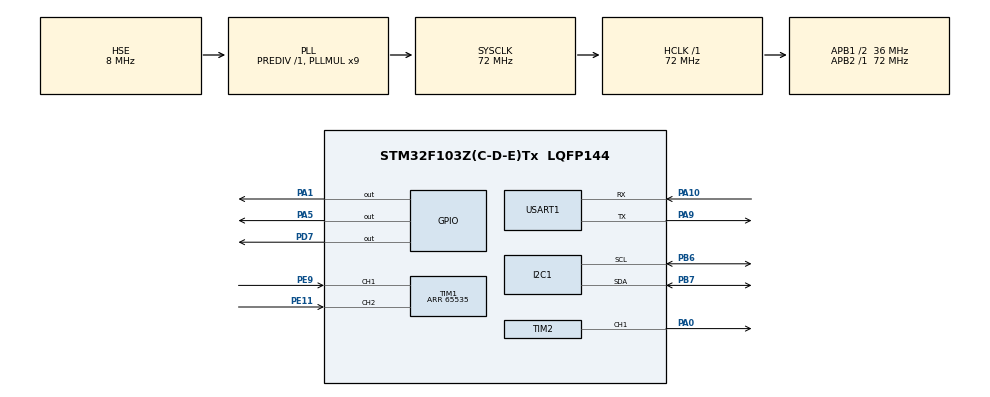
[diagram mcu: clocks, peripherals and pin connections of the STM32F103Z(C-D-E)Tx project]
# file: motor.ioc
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Mcu.Family=STM32F1
Mcu.Name=STM32F103Z(C-D-E)Tx
Mcu.Package=LQFP144
NVIC.PriorityGroup=NVIC_PRIORITYGROUP_4
NVIC.TIM3_IRQn=true\:0\:0\:true\:false\:true\:true\:true\:true
NVIC.TIM4_IRQn=true\:1\:0\:true\:false\:true\:true\:true\:true
NVIC.USART1_IRQn=true\:0\:0\:true\:false\:true\:true\:true\:true
OSC_IN.Mode=HSE-External-Oscillator
OSC_IN.Signal=RCC_OSC_IN
OSC_OUT.Mode=HSE-External-Oscillator
OSC_OUT.Signal=RCC_OSC_OUT
PA0-WKUP.Signal=S_TIM2_CH1_ETR
PA1.Signal=GPIO_Output
PA10.Mode=Asynchronous
PA10.Signal=USART1_RX
PA13.Mode=Serial_Wire
PA13.Signal=SYS_JTMS-SWDIO
PA14.Mode=Serial_Wire
PA14.Signal=SYS_JTCK-SWCLK
PA5.Signal=GPIO_Output
PA9.Mode=Asynchronous
PA9.Signal=USART1_TX
PB6.Mode=I2C
PB6.Signal=I2C1_SCL
PB7.Mode=I2C
PB7.Signal=I2C1_SDA
PD7.Signal=GPIO_Output
PE11.Signal=S_TIM1_CH2
PE9.Signal=S_TIM1_CH1
ProjectManager.HeapSize=0x600
ProjectManager.StackSize=0x400
ProjectManager.TargetToolchain=MDK-ARM V5.32
RCC.AHBFreq_Value=72000000
RCC.APB1CLKDivider=RCC_HCLK_DIV2
RCC.APB1Freq_Value=36000000
RCC.APB1TimFreq_Value=72000000
RCC.APB2Freq_Value=72000000
RCC.APB2TimFreq_Value=72000000
RCC.HCLKFreq_Value=72000000
RCC.PLLMUL=RCC_PLL_MUL9
RCC.PLLSourceVirtual=RCC_PLLSOURCE_HSE
RCC.SYSCLKFreq_VALUE=72000000
RCC.SYSCLKSource=RCC_SYSCLKSOURCE_PLLCLK
RCC.USBFreq_Value=72000000
SH.S_TIM1_CH1.0=TIM1_CH1,Encoder_Interface
SH.S_TIM1_CH2.0=TIM1_CH2,Encoder_Interface
SH.S_TIM2_CH1_ETR.0=TIM2_CH1,PWM Generation1 CH1
STMicroelectronics.X-CUBE-ALGOBUILD.1.3.0.LibraryCcDSPOoLibraryJjDSPOoLibrary=true
TIM1.EncoderMode=TIM_ENCODERMODE_TI12
TIM1.Period=65535
TIM2.Channel-PWM\ Generation1\ CH1=TIM_CHANNEL_1
TIM2.OCFastMode_PWM-PWM\ Generation1\ CH1=TIM_OCFAST_DISABLE
TIM2.Period=500-1
TIM2.Prescaler=72-1
TIM3.Period=1000-1
TIM3.Prescaler=7200-1
TIM4.Period=1800
TIM4.Prescaler=72-1
USART1.VirtualMode=VM_ASYNC
VP_STMicroelectronics.X-CUBE-ALGOBUILD_VS_DSPOoLibraryJjLibrary_1.3.0_1.3.0.Mode=DSPOoLibraryJjLibrary
VP_TIM2_VS_ClockSourceINT.Mode=Internal
VP_TIM3_VS_ClockSourceINT.Mode=Internal
VP_TIM4_VS_ClockSourceINT.Mode=Internal
board=custom

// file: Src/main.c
/* USER CODE BEGIN Header */
/**
  ******************************************************************************
  * @file           : main.c
  * @brief          : Main program body
  ******************************************************************************
  * @attention
  *
  * Copyright (c) 2023 STMicroelectronics.
  * All rights reserved.
  *
  * This software is licensed under terms that can be found in the LICENSE file
  * in the root directory of this software component.
  * If no LICENSE file comes with this software, it is provided AS-IS.
  *
  ******************************************************************************
  */
/* USER CODE END Header */
#include "main.h"
#include "i2c.h"
#include "tim.h"
#include "usart.h"
#include "gpio.h"

/* USER CODE BEGIN Includes */
#include "mb.h"
#include "mbport.h"
#include "arm_math.h"
#include "stdlib.h"
/* USER CODE END Includes */

/* USER CODE BEGIN PD */
#define pwmMax 330	//pwm输出限幅，防止烧坏电机，最大约7.8V
#define targetMax 80	//电机最大占空比速度约为+-118rpm，在此限制为+-80rpm
#define en2rpm 6.6	//角速度与编码器值换算系数
#define ADDR_24LCxx_Write 0xA0
#define ADDR_24LCxx_Read 0xA1
#define BufferSize 8

/* USER CODE END PD */

/* USER CODE BEGIN PV */

uint16_t target_1=40;//目标角速度（RPM）  最大速度 +-80RPM
uint16_t target_2=60;//第二个目标角速度（RPM）  最大速度 +-80RPM
uint16_t Target=0;
int16_t output=0;//pid输出值
float kp=0,ki=0,kd=0;//pid参数
//float kp=1.2,ki=2.5,kd=0;//pid参数
uint16_t pwmVal=0;//pwm值
float speed=0;//电机当前速度
uint8_t start=0;//电机启动标志
int16_t err=0,lerr=0,llerr=0;//历次误差
uint16_t cnt;	//计数器
uint32_t sum;	//求和
USHORT   usRegHoldingStart = REG_HOLDING_START;
USHORT   usRegHoldingBuf[REG_HOLDING_NREGS];
/* USER CODE END PV */

void SystemClock_Config(void);
/* USER CODE BEGIN PFP */
BOOL parm_read()
{
	uint8_t buf[BufferSize];
	uint8_t state=0;
	for(int i=0;i<BufferSize;i++)
	{
		state += HAL_I2C_Mem_Read(&hi2c1, ADDR_24LCxx_Read, i, I2C_MEMADD_SIZE_8BIT,&buf[i],1,0xff);//使用I2C块读，出错。因此采用此种方式，逐个单字节写入
		HAL_Delay(5);//此处延时必加，与AT24C02写时序有关
	}
	if(state==0)
	{
		for(int i=0;i<BufferSize/2;i++)
		{
			static uint8_t j=0;
			usRegHoldingBuf[i] = ((uint16_t)buf[j++])|0x00;
			usRegHoldingBuf[i] |= (((uint16_t)buf[j++])<<8);
		}

		return TRUE;
	}
	else
		return FALSE;
}

BOOL parm_write(uint16_t* dat)
{
	uint8_t buf[BufferSize];
	uint8_t state=0;
	for(int i=0;i<BufferSize/2;i++)
	{
		static uint8_t j=0;
		buf[j++] = (uint8_t)(dat[i]&0x00ff);
		buf[j++] = (uint8_t)((dat[i]>>8)&0x00ff);
	}
	for(int i=0;i<BufferSize;i++)
	{
		state += HAL_I2C_Mem_Write(&hi2c1, ADDR_24LCxx_Write, i, I2C_MEMADD_SIZE_8BIT,&buf[i],1,0xff);//使用I2C块读，出错。因此采用此种方式，逐个单字节写入
		HAL_Delay(5);//此处延时必加，与AT24C02写时序有关
	}
	if(state==0)
		return TRUE;
	else
		return FALSE;
}

/* USER CODE END PFP */

int main(void)
{

  /* MCU Configuration--------------------------------------------------------*/

  /* Reset of all peripherals, Initializes the Flash interface and the Systick. */
  HAL_Init();

  /* Configure the system clock */
  SystemClock_Config();

  /* Initialize all configured peripherals */
  MX_GPIO_Init();
  MX_TIM1_Init();
  MX_TIM2_Init();
  MX_TIM3_Init();
  MX_USART1_UART_Init();
  MX_TIM4_Init();
  MX_I2C1_Init();
  /* USER CODE BEGIN 2 */
  HAL_TIM_PWM_Start(&htim2,TIM_CHANNEL_1);//启动定时器2，输出PWM波
  HAL_TIM_Base_Start_IT(&htim3);       //通过这行代码，以中断的方式启动定时器3
  HAL_TIM_Encoder_Start(&htim1, TIM_CHANNEL_ALL);      //开启编码器定时器
  eMBInit( MB_RTU, 0x01, 1, 115200, MB_PAR_NONE);//初始化modbus，走modbusRTU，从站地址为0x01，端口为1。
  eMBEnable( );
//	parm_read();
	sum = (usRegHoldingBuf[0]+usRegHoldingBuf[1]+usRegHoldingBuf[2]+usRegHoldingBuf[3]+usRegHoldingBuf[5]);
  /* USER CODE END 2 */

  /* Infinite loop */
  /* USER CODE BEGIN WHILE */
  while (1)
  {
	  ( void )eMBPoll();
		usRegHoldingBuf[4] = (USHORT)(speed*100);
    /* USER CODE END WHILE */

    /* USER CODE BEGIN 3 */
		if(sum != (usRegHoldingBuf[0]+usRegHoldingBuf[1]+usRegHoldingBuf[2]+usRegHoldingBuf[3]+usRegHoldingBuf[5]))
		{
//			parm_write(usRegHoldingBuf);
			sum = (usRegHoldingBuf[0]+usRegHoldingBuf[1]+usRegHoldingBuf[2]+usRegHoldingBuf[3]+usRegHoldingBuf[5]);
			Target = usRegHoldingBuf[0];
			kp = (float)(usRegHoldingBuf[1]/100);
			ki = (float)(usRegHoldingBuf[2]/100);
			kd = (float)(usRegHoldingBuf[3]/100);
			start = usRegHoldingBuf[5];
		}

  }
  /* USER CODE END 3 */
}

void SystemClock_Config(void)
{
  RCC_OscInitTypeDef RCC_OscInitStruct = {0};
  RCC_ClkInitTypeDef RCC_ClkInitStruct = {0};

  /** Initializes the RCC Oscillators according to the specified parameters
  * in the RCC_OscInitTypeDef structure.
  */
  RCC_OscInitStruct.OscillatorType = RCC_OSCILLATORTYPE_HSE;
  RCC_OscInitStruct.HSEState = RCC_HSE_ON;
  RCC_OscInitStruct.HSEPredivValue = RCC_HSE_PREDIV_DIV1;
  RCC_OscInitStruct.HSIState = RCC_HSI_ON;
  RCC_OscInitStruct.PLL.PLLState = RCC_PLL_ON;
  RCC_OscInitStruct.PLL.PLLSource = RCC_PLLSOURCE_HSE;
  RCC_OscInitStruct.PLL.PLLMUL = RCC_PLL_MUL9;
  if (HAL_RCC_OscConfig(&RCC_OscInitStruct) != HAL_OK)
  {
    Error_Handler();
  }

  /** Initializes the CPU, AHB and APB buses clocks
  */
  RCC_ClkInitStruct.ClockType = RCC_CLOCKTYPE_HCLK|RCC_CLOCKTYPE_SYSCLK
                              |RCC_CLOCKTYPE_PCLK1|RCC_CLOCKTYPE_PCLK2;
  RCC_ClkInitStruct.SYSCLKSource = RCC_SYSCLKSOURCE_PLLCLK;
  RCC_ClkInitStruct.AHBCLKDivider = RCC_SYSCLK_DIV1;
  RCC_ClkInitStruct.APB1CLKDivider = RCC_HCLK_DIV2;
  RCC_ClkInitStruct.APB2CLKDivider = RCC_HCLK_DIV1;

  if (HAL_RCC_ClockConfig(&RCC_ClkInitStruct, FLASH_LATENCY_2) != HAL_OK)
  {
    Error_Handler();
  }
}

/* USER CODE BEGIN 4 */

void HAL_TIM_PeriodElapsedCallback(TIM_HandleTypeDef *htim)
{
	if(htim == &htim4)	//判断中断是否来自于定时器4
	{
		prvvTIMERExpiredISR( );
	}
	if(htim == &htim3)  //判断中断是否来自于定时器3
	{
		cnt += 1;	//计时，每100ms加1
		if(start)
		{
			if(fabs(Target) > targetMax)	//对设定的速度进行限幅
			{
				Target = Target>0?targetMax:-targetMax;
			}
			speed = (short)(__HAL_TIM_GetCounter(&htim1))/en2rpm;    //获取编码器定时器中的计数值，并转换为实际角速度
			err = Target - speed;//计算偏差
			output += kp*(err-lerr) + ki*err + kd*(err-2*lerr+llerr);//增量式pid
			llerr = lerr;//更新上上一次偏差值
			lerr = err;//更新上一次偏差值
			pwmVal = abs(output);//输出取绝对值
			pwmVal = (pwmVal>pwmMax)?pwmMax:pwmVal;//输出限幅
			if(output>0)//根据输出值正负控制电机转向
			{
				HAL_GPIO_WritePin(GPIOA, GPIO_PIN_1, GPIO_PIN_SET);//A1引脚输出低电平
				HAL_GPIO_WritePin(GPIOA, GPIO_PIN_5, GPIO_PIN_RESET);//A2引脚输出高电平
			}
			else
			{
				HAL_GPIO_WritePin(GPIOA, GPIO_PIN_1, GPIO_PIN_RESET);//A1引脚输出高电平
				HAL_GPIO_WritePin(GPIOA, GPIO_PIN_5, GPIO_PIN_SET);//A2引脚输出底电平
			}
			__HAL_TIM_SetCompare(&htim2, TIM_CHANNEL_1, pwmVal);//根据输出值大小控制电机转速
			__HAL_TIM_SetCounter(&htim1,0);//将编码器计数器中的计数值清零
		}
		else
		{
			err = 0;	//清除控制量，防止影响下次启动
			output = 0;
			llerr = 0;
			lerr = 0;
			speed = 0;
			HAL_GPIO_WritePin(GPIOA, GPIO_PIN_1, GPIO_PIN_RESET);
			HAL_GPIO_WritePin(GPIOA, GPIO_PIN_5, GPIO_PIN_RESET);
			__HAL_TIM_SetCompare(&htim2, TIM_CHANNEL_1, 0);
			__HAL_TIM_SetCounter(&htim1,0);
		}
	}
}

/* USER CODE END 4 */

void Error_Handler(void)
{
  __disable_irq();
  while (1)
  {
  }
}
